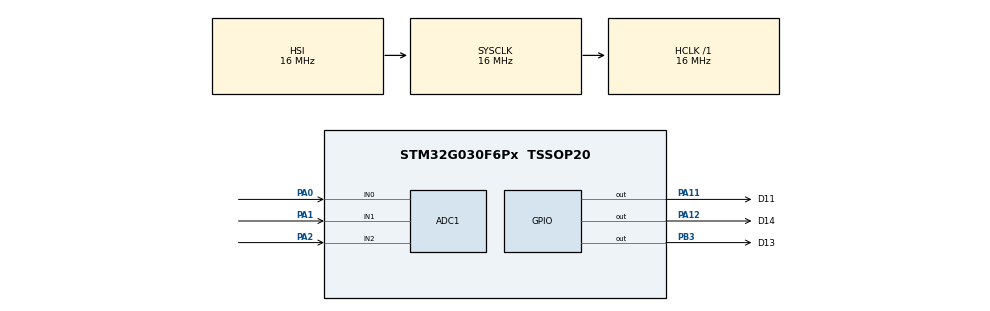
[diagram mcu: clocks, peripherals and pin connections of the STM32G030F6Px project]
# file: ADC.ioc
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ADC1.Channel-4\#ChannelRegularConversion=ADC_CHANNEL_0
ADC1.ContinuousConvMode=DISABLE
ADC1.DMAContinuousRequests=ENABLE
ADC1.ExternalTrigConv=ADC_EXTERNALTRIG_T3_TRGO
ADC1.NbrOfConversion=1
ADC1.NbrOfConversionFlag=1
ADC1.Rank-4\#ChannelRegularConversion=1
ADC1.SamplingTime-4\#ChannelRegularConversion=ADC_SAMPLINGTIME_COMMON_1
ADC1.SamplingTimeCommon1=ADC_SAMPLETIME_12CYCLES_5
ADC1.SamplingTimeCommon2=ADC_SAMPLETIME_19CYCLES_5
ADC1.SelectedChannel=ADC_CHANNEL_0|ADC_CHANNEL_1|ADC_CHANNEL_2
ADC1.master=1
Dma.ADC1.0.Direction=DMA_PERIPH_TO_MEMORY
Dma.ADC1.0.EventEnable=DISABLE
Dma.ADC1.0.Instance=DMA1_Channel1
Dma.ADC1.0.MemDataAlignment=DMA_MDATAALIGN_HALFWORD
Dma.ADC1.0.MemInc=DMA_MINC_ENABLE
Dma.ADC1.0.Mode=DMA_CIRCULAR
Dma.ADC1.0.PeriphDataAlignment=DMA_PDATAALIGN_HALFWORD
Dma.ADC1.0.PeriphInc=DMA_PINC_DISABLE
Dma.ADC1.0.Polarity=HAL_DMAMUX_REQ_GEN_RISING
Dma.ADC1.0.Priority=DMA_PRIORITY_LOW
Dma.ADC1.0.RequestNumber=1
Dma.ADC1.0.SignalID=NONE
Dma.ADC1.0.SyncEnable=DISABLE
Dma.ADC1.0.SyncPolarity=HAL_DMAMUX_SYNC_NO_EVENT
Dma.ADC1.0.SyncRequestNumber=1
Dma.ADC1.0.SyncSignalID=NONE
Dma.Request0=ADC1
Mcu.Family=STM32G0
Mcu.Name=STM32G030F6Px
Mcu.Package=TSSOP20
NVIC.DMA1_Channel1_IRQn=true\:0\:0\:false\:false\:true\:false\:true\:true
PA0.Mode=IN0
PA0.Signal=ADC1_IN0
PA1.Mode=IN1
PA1.Signal=ADC1_IN1
PA11\ [PA9].GPIO_Label=D11
PA11\ [PA9].Signal=GPIO_Output
PA12\ [PA10].GPIO_Label=D14
PA12\ [PA10].Signal=GPIO_Output
PA14-BOOT0__PA15.StandardMode=true
PA2.Mode=IN2
PA2.Signal=ADC1_IN2
PB0__PB1__PB2__PA8.StandardMode=true
PB3.GPIO_Label=D13
PB3.Signal=GPIO_Output
PB3__PB4__PB5__PB6.StandardMode=true
PB7__PB8.StandardMode=true
PC14-OSC32_IN\ (PC14)__PB9.StandardMode=true
ProjectManager.HeapSize=0x200
ProjectManager.StackSize=0x400
ProjectManager.TargetToolchain=STM32CubeIDE
RCC.AHBFreq_Value=16000000
RCC.CortexFreq_Value=16000000
RCC.EXTERNAL_CLOCK_VALUE=12288000
RCC.HCLKFreq_Value=16000000
RCC.HSE_VALUE=8000000
RCC.HSI_VALUE=16000000
RCC.LSE_VALUE=32768
RCC.SYSCLKFreq_VALUE=16000000
RCC.VCOOutputFreq_Value=128000000
TIM3.Period=1000-1
TIM3.Prescaler=16-1
TIM3.TIM_MasterOutputTrigger=TIM_TRGO_UPDATE
TIM3.TIM_MasterSlaveMode=TIM_MASTERSLAVEMODE_ENABLE
VP_TIM3_VS_ClockSourceINT.Mode=Internal
board=custom

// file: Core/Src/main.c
/* USER CODE BEGIN Header */
/**
  ******************************************************************************
  * @file           : main.c
  * @brief          : Main program body
  ******************************************************************************
  * @attention
  *
  * Copyright (c) 2025 STMicroelectronics.
  * All rights reserved.
  *
  * This software is licensed under terms that can be found in the LICENSE file
  * in the root directory of this software component.
  * If no LICENSE file comes with this software, it is provided AS-IS.
  *
  ******************************************************************************
  */
/* USER CODE END Header */
#include "main.h"

ADC_HandleTypeDef hadc1;
DMA_HandleTypeDef hdma_adc1;

TIM_HandleTypeDef htim3;

/* USER CODE BEGIN PV */
/* USER CODE BEGIN PV */
#define ADC_BUF_LEN   200         // buffer uzunluğu
#define CAL_FACTOR (226.0f / 1140.0f)

#define IIR_ALPHA     0.2f        // filtre katsayısı (0.1–0.3 arası oynayabilirsin)

#define VREFINT_TYP       1.212f    // Vrefint tipik voltajı (datasheet’ten)

volatile uint16_t adc_buf[ADC_BUF_LEN];
volatile uint8_t  adc_ready = 0;
volatile uint16_t rms_value = 0;
float vrms_filtered = 0.0f;
uint16_t vrefint_cal = 0;
/* USER CODE END PV */

void SystemClock_Config(void);
static void MX_GPIO_Init(void);
static void MX_DMA_Init(void);
static void MX_ADC1_Init(void);
static void MX_TIM3_Init(void);

int main(void)
{

  /* MCU Configuration--------------------------------------------------------*/

  /* Reset of all peripherals, Initializes the Flash interface and the Systick. */
  HAL_Init();

  /* Configure the system clock */
  SystemClock_Config();

  /* Initialize all configured peripherals */
  MX_GPIO_Init();
  MX_DMA_Init();
  MX_ADC1_Init();
  MX_TIM3_Init();
  /* USER CODE BEGIN 2 */
    HAL_ADCEx_Calibration_Start(&hadc1);
    vrefint_cal = *VREFINT_CAL_ADDR;     // fabrika kalibrasyonunu al

    HAL_ADC_Start_DMA(&hadc1, (uint32_t*)adc_buf, ADC_BUF_LEN);
    HAL_TIM_Base_Start(&htim3);          // Timer3 başlat
  /* USER CODE END 2 */

  /* Infinite loop */
  /* USER CODE BEGIN WHILE */
    while (1)
    {
      if (adc_ready) {
        adc_ready = 0;

        // 1) RMS
        uint32_t sum_sq = 0;
        int32_t  dc_offset = 0;
        for (int i = 0; i < ADC_BUF_LEN; i++) dc_offset += adc_buf[i];
        dc_offset /= ADC_BUF_LEN;
        for (int i = 0; i < ADC_BUF_LEN; i++) {
          int32_t s = adc_buf[i] - dc_offset;
          sum_sq += s * s;
        }
        rms_value = (uint16_t)(sqrtf((float)sum_sq / ADC_BUF_LEN));

        // 2) VREFINT → Vdda hesabı (her tamponda 1 kez)
        uint16_t vref_adc = ReadVrefintOnce();

        // Fabrika kalibrasyon tekniği: Vdda ≈ 3.0V * (VREFINT_CAL / vref_adc)
        // (Nominal Vdda’yı 3.0 aldıysak)
        float Vdda = 3.0f * ((float)vrefint_cal / (float)vref_adc);
        // Eğer fabrika kalibrasyon adresi yoksa tipik yönteme düş:
        if (vrefint_cal == 0xFFFF || vrefint_cal == 0x0000) {
          Vdda = (VREFINT_TYP * 4095.0f) / (float)vref_adc;
        }

        // 3) Voltaja çevir + Vdda kompanzasyonu
        float vrms_real = 0.0f;
        if (rms_value > 50) {
          vrms_real = rms_value * CAL_FACTOR * (Vdda / 3.0f);
        }

        // 4) IIR filtre
        vrms_filtered += IIR_ALPHA * (vrms_real - vrms_filtered);

        // 5) LED mantığı
        if (vrms_filtered < 100.0f) {
          HAL_GPIO_WritePin(GPIOA, GPIO_PIN_11, GPIO_PIN_SET);
          HAL_GPIO_WritePin(GPIOA, GPIO_PIN_12, GPIO_PIN_RESET);
          HAL_GPIO_WritePin(GPIOB, GPIO_PIN_3,  GPIO_PIN_RESET);
        } else if (vrms_filtered < 200.0f) {
          HAL_GPIO_WritePin(GPIOA, GPIO_PIN_11, GPIO_PIN_RESET);
          HAL_GPIO_WritePin(GPIOA, GPIO_PIN_12, GPIO_PIN_SET);
          HAL_GPIO_WritePin(GPIOB, GPIO_PIN_3,  GPIO_PIN_RESET);
        } else {
          HAL_GPIO_WritePin(GPIOA, GPIO_PIN_11, GPIO_PIN_RESET);
          HAL_GPIO_WritePin(GPIOA, GPIO_PIN_12, GPIO_PIN_RESET);
          HAL_GPIO_WritePin(GPIOB, GPIO_PIN_3,  GPIO_PIN_SET);
        }
      }
    }

    /* USER CODE END WHILE */

  }
}

void SystemClock_Config(void)
{
  RCC_OscInitTypeDef RCC_OscInitStruct = {0};
  RCC_ClkInitTypeDef RCC_ClkInitStruct = {0};

  /** Configure the main internal regulator output voltage
  */
  HAL_PWREx_ControlVoltageScaling(PWR_REGULATOR_VOLTAGE_SCALE1);

  /** Initializes the RCC Oscillators according to the specified parameters
  * in the RCC_OscInitTypeDef structure.
  */
  RCC_OscInitStruct.OscillatorType = RCC_OSCILLATORTYPE_HSI;
  RCC_OscInitStruct.HSIState = RCC_HSI_ON;
  RCC_OscInitStruct.HSIDiv = RCC_HSI_DIV1;
  RCC_OscInitStruct.HSICalibrationValue = RCC_HSICALIBRATION_DEFAULT;
  RCC_OscInitStruct.PLL.PLLState = RCC_PLL_NONE;
  if (HAL_RCC_OscConfig(&RCC_OscInitStruct) != HAL_OK)
  {
    Error_Handler();
  }

  /** Initializes the CPU, AHB and APB buses clocks
  */
  RCC_ClkInitStruct.ClockType = RCC_CLOCKTYPE_HCLK|RCC_CLOCKTYPE_SYSCLK
                              |RCC_CLOCKTYPE_PCLK1;
  RCC_ClkInitStruct.SYSCLKSource = RCC_SYSCLKSOURCE_HSI;
  RCC_ClkInitStruct.AHBCLKDivider = RCC_SYSCLK_DIV1;
  RCC_ClkInitStruct.APB1CLKDivider = RCC_HCLK_DIV1;

  if (HAL_RCC_ClockConfig(&RCC_ClkInitStruct, FLASH_LATENCY_0) != HAL_OK)
  {
    Error_Handler();
  }
}

static void MX_ADC1_Init(void)
{

  ADC_ChannelConfTypeDef sConfig = {0};

  /** Configure the global features of the ADC (Clock, Resolution, Data Alignment and number of conversion)
  */
  hadc1.Instance = ADC1;
  hadc1.Init.ClockPrescaler = ADC_CLOCK_SYNC_PCLK_DIV2;
  hadc1.Init.Resolution = ADC_RESOLUTION_12B;
  hadc1.Init.DataAlign = ADC_DATAALIGN_RIGHT;
  hadc1.Init.ScanConvMode = ADC_SCAN_DISABLE;
  hadc1.Init.EOCSelection = ADC_EOC_SINGLE_CONV;
  hadc1.Init.LowPowerAutoWait = DISABLE;
  hadc1.Init.LowPowerAutoPowerOff = DISABLE;
  hadc1.Init.ContinuousConvMode = DISABLE;
  hadc1.Init.NbrOfConversion = 1;
  hadc1.Init.DiscontinuousConvMode = DISABLE;
  hadc1.Init.ExternalTrigConv = ADC_EXTERNALTRIG_T3_TRGO;
  hadc1.Init.ExternalTrigConvEdge = ADC_EXTERNALTRIGCONVEDGE_RISING;
  hadc1.Init.DMAContinuousRequests = ENABLE;
  hadc1.Init.Overrun = ADC_OVR_DATA_PRESERVED;
  hadc1.Init.SamplingTimeCommon1 = ADC_SAMPLETIME_12CYCLES_5;
  hadc1.Init.SamplingTimeCommon2 = ADC_SAMPLETIME_19CYCLES_5;
  hadc1.Init.OversamplingMode = DISABLE;
  hadc1.Init.TriggerFrequencyMode = ADC_TRIGGER_FREQ_HIGH;
  if (HAL_ADC_Init(&hadc1) != HAL_OK)
  {
    Error_Handler();
  }

  /** Configure Regular Channel
  */
  sConfig.Channel = ADC_CHANNEL_0;
  sConfig.Rank = ADC_REGULAR_RANK_1;
  sConfig.SamplingTime = ADC_SAMPLINGTIME_COMMON_1;
  if (HAL_ADC_ConfigChannel(&hadc1, &sConfig) != HAL_OK)
  {
    Error_Handler();
  }
  /* USER CODE BEGIN ADC1_Init 2 */
  /* (Opsiyonel) Başlatmadan önce kalibrasyon yapacaksan, main’de:
     HAL_ADCEx_Calibration_Start(&hadc1); çağır. */
  /* USER CODE END ADC1_Init 2 */

}

static void MX_TIM3_Init(void)
{

  TIM_ClockConfigTypeDef sClockSourceConfig = {0};
  TIM_MasterConfigTypeDef sMasterConfig = {0};

  htim3.Instance = TIM3;
  htim3.Init.Prescaler = 16-1;
  htim3.Init.CounterMode = TIM_COUNTERMODE_UP;
  htim3.Init.Period = 1000-1;
  htim3.Init.ClockDivision = TIM_CLOCKDIVISION_DIV1;
  htim3.Init.AutoReloadPreload = TIM_AUTORELOAD_PRELOAD_DISABLE;
  if (HAL_TIM_Base_Init(&htim3) != HAL_OK)
  {
    Error_Handler();
  }
  sClockSourceConfig.ClockSource = TIM_CLOCKSOURCE_INTERNAL;
  if (HAL_TIM_ConfigClockSource(&htim3, &sClockSourceConfig) != HAL_OK)
  {
    Error_Handler();
  }
  sMasterConfig.MasterOutputTrigger = TIM_TRGO_UPDATE;
  sMasterConfig.MasterSlaveMode = TIM_MASTERSLAVEMODE_ENABLE;
  if (HAL_TIMEx_MasterConfigSynchronization(&htim3, &sMasterConfig) != HAL_OK)
  {
    Error_Handler();
  }

}

static void MX_DMA_Init(void)
{

  /* DMA controller clock enable */
  __HAL_RCC_DMA1_CLK_ENABLE();

  /* DMA interrupt init */
  /* DMA1_Channel1_IRQn interrupt configuration */
  HAL_NVIC_SetPriority(DMA1_Channel1_IRQn, 0, 0);
  HAL_NVIC_EnableIRQ(DMA1_Channel1_IRQn);

}

static void MX_GPIO_Init(void)
{
  GPIO_InitTypeDef GPIO_InitStruct = {0};

  /* GPIO Ports Clock Enable */
  __HAL_RCC_GPIOA_CLK_ENABLE();
  __HAL_RCC_GPIOB_CLK_ENABLE();

  /*Configure GPIO pin Output Level */
  HAL_GPIO_WritePin(GPIOA, D11_Pin|D14_Pin, GPIO_PIN_RESET);

  /*Configure GPIO pin Output Level */
  HAL_GPIO_WritePin(D13_GPIO_Port, D13_Pin, GPIO_PIN_RESET);

  /*Configure GPIO pins : D11_Pin D14_Pin */
  GPIO_InitStruct.Pin = D11_Pin|D14_Pin;
  GPIO_InitStruct.Mode = GPIO_MODE_OUTPUT_PP;
  GPIO_InitStruct.Pull = GPIO_NOPULL;
  GPIO_InitStruct.Speed = GPIO_SPEED_FREQ_LOW;
  HAL_GPIO_Init(GPIOA, &GPIO_InitStruct);

  /*Configure GPIO pin : D13_Pin */
  GPIO_InitStruct.Pin = D13_Pin;
  GPIO_InitStruct.Mode = GPIO_MODE_OUTPUT_PP;
  GPIO_InitStruct.Pull = GPIO_NOPULL;
  GPIO_InitStruct.Speed = GPIO_SPEED_FREQ_LOW;
  HAL_GPIO_Init(D13_GPIO_Port, &GPIO_InitStruct);

}

/* USER CODE BEGIN 4 */
static uint16_t ReadVrefintOnce(void)
{
    ADC_ChannelConfTypeDef sConfig = {0};

    // DMA durdur
    HAL_ADC_Stop_DMA(&hadc1);

    // VREFINT kanalını seç
    sConfig.Channel = ADC_CHANNEL_VREFINT;
    sConfig.Rank = ADC_REGULAR_RANK_1;
    sConfig.SamplingTime = ADC_SAMPLINGTIME_COMMON_2; // uzun süre daha doğru
    HAL_ADC_ConfigChannel(&hadc1, &sConfig);

    HAL_ADC_Start(&hadc1);
    HAL_ADC_PollForConversion(&hadc1, HAL_MAX_DELAY);
    uint16_t vref_adc = HAL_ADC_GetValue(&hadc1);
    HAL_ADC_Stop(&hadc1);

    // Tekrar CH0’a dön
    sConfig.Channel = ADC_CHANNEL_0;
    sConfig.Rank = ADC_REGULAR_RANK_1;
    sConfig.SamplingTime = ADC_SAMPLINGTIME_COMMON_1;
    HAL_ADC_ConfigChannel(&hadc1, &sConfig);

    // DMA’yı tekrar başlat
    HAL_ADC_Start_DMA(&hadc1, (uint32_t*)adc_buf, ADC_BUF_LEN);

    return vref_adc;
}

void HAL_ADC_ConvCpltCallback(ADC_HandleTypeDef *hadc)
{
    if (hadc->Instance == ADC1) {
        adc_ready = 1;
    }
}
/* USER CODE END 4 */

void Error_Handler(void)
{
  __disable_irq();
  while (1)
  {
  }
}
